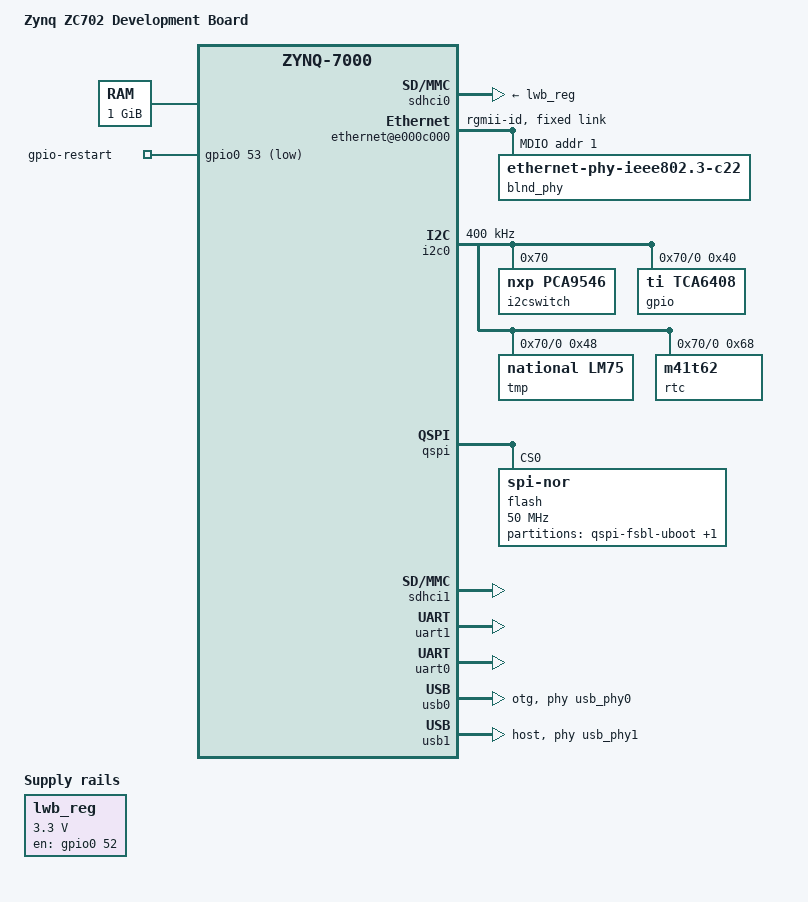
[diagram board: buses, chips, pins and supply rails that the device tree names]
/*
 *  Copyright (C) 2011 - 2014 Xilinx
 *  Copyright (C) 2012 National Instruments Corp.
 *
 * This software is licensed under the terms of the GNU General Public
 * License version 2, as published by the Free Software Foundation, and
 * may be copied, distributed, and modified under those terms.
 *
 * This program is distributed in the hope that it will be useful,
 * but WITHOUT ANY WARRANTY; without even the implied warranty of
 * MERCHANTABILITY or FITNESS FOR A PARTICULAR PURPOSE.  See the
 * GNU General Public License for more details.
 */
/dts-v1/;
#include "zynq-7000.dtsi"
#include <dt-bindings/gpio/gpio.h>
#include <dt-bindings/input/input.h>

/ {
	model = "Zynq ZC702 Development Board";
	compatible = "iveia,atlas-i-z7e", "iveia,helios-z7";

	aliases {
		i2c0 = &i2c0;
		i2c1 = &i2c1;
		serial0 = &uart1;
		spi0 = &qspi;
		mmc0 = &sdhci0;
	};

	memory@0 {
		device_type = "memory";
		reg = <0x0 0x40000000>;
	};

	chosen {
		bootargs = "console=ttyPS1,115200 root=/dev/ram rw earlyprintk";
		stdout-path = "serial0:115200n8";
	};

	iveia_fb {
		compatible = "iveia,fb";
	};
	
	usb_phy0: phy0@e0002000 {
		compatible = "ulpi-phy";
		#phy-cells = <0>;
		reg = <0xe0002000 0x1000>;
		view-port = <0x0170>;
		drv-vbus;
	};

	usb_phy1: phy0@e0003000 {
		compatible = "ulpi-phy";
		#phy-cells = <0>;
		reg = <0xe0003000 0x1000>;
		view-port = <0x0170>;
		drv-vbus;
	};

};

&amba {
	ocm: sram@fffc0000 {
		compatible = "mmio-sram";
		reg = <0xfffc0000 0x10000>;
	};

	lwb_reg: reg@1 {
		compatible = "regulator-fixed";
		regulator-name = "lwb-wifi";

		regulator-min-microvolt = <3300000>; /* Actually 1.8V, but this keeps the driver happy */
		regulator-max-microvolt = <3300000>;
            		
		gpio = <&gpio0 52 0>;

		enable-active-high;
		regulator-boot-on;
		startup-delay-us = <70000>;
	};
/*
	uart1: serial@e0001000 {
		compatible = "iveia,intrepid-rs485";
		status = "okay";
		clocks = <&clkc 24>, <&clkc 41>;
		clock-names = "uart_clk", "pclk";
		reg = <0xE0001000 0x1000>;
		interrupts = <0 50 4>;

		rgpio = <&gpio0 10 0>;
		wgpio = <&gpio0 11 0>;
	};
*/
	sdhci0: sdhci@e0100000 {
		compatible = "arasan,sdhci-8.9a";
		u-boot,dm-pre-reloc;
		status = "okay"; 
		clock-names = "clk_xin", "clk_ahb";
		clocks = <&clkc 21>, <&clkc 32>;
		interrupt-parent = <&intc>;
		interrupts = <0 24 4>;
		reg = <0xe0100000 0x1000>;
		broken-adma2;

		vmmc-supply = <&lwb_reg>;

		disable-wp;
		non-removeable;
		cap-power-off-card;
	};
/*
	eth@e000b000 { //ETH0 on Helios
		compatible = "cdns,zynq-gem", "cdns,gem";
		reg = <0xe000b000 0x1000>;
		status = "okay";
		interrupts = <0 22 4>;
		clocks = <&clkc 30>, <&clkc 30>, <&clkc 13>;
		clock-names = "pclk", "hclk", "tx_clk";
		#address-cells = <1>;
		#size-cells = <0>;
		use-internal-mdio = <1>;
		mdio {
			#address-cells = <1>;
			#size-cells = <0>;
			helios_phy: phy@0 {
				compatible = "ethernet-phy-ieee802.3-c22";
				device_type = "ethernet-phy";
				reg = <0>;
			};
		};
	};
*/
	ethernet@e000c000 { //ETH0 on BLND
		compatible = "cdns,zynq-gem", "cdns,gem";
		reg = <0xe000c000 0x1000>;
		status = "okay";
		interrupts = <0 45 4>;
		clocks = <&clkc 31>, <&clkc 31>, <&clkc 14>;
		clock-names = "pclk", "hclk", "tx_clk";
		#address-cells = <1>;
		#size-cells = <0>;
		use-internal-mdio = <1>;

		phy-mode = "rgmii-id";

		fixed-link {
			speed = <1000>;
			full-duplex;
		};

		mdio {
			#address-cells = <1>;
			#size-cells = <0>;
			blnd_phy: phy@1 {
				compatible = "ethernet-phy-ieee802.3-c22";
				device_type = "ethernet-phy";
				reg = <1>;
			};
		};

	};

	gpio-restart {
		compatible = "gpio-restart";
		gpios = <&gpio0 53 GPIO_ACTIVE_LOW>;
		priority = <128>;
		active-delay = <100>;
		inactive-delay = <100>;
		wait-delay = <3000>;
	};

};

&clkc {
	ps-clk-frequency = <33333333>;
};

&i2c0 {
	status = "okay";
	clock-frequency = <400000>;

        i2cswitch@70 {
                compatible = "nxp,pca9546";
                #address-cells = <1>;
                #size-cells = <0>;
                reg = <0x70>;

                i2c@0 {
                        #address-cells = <1>;
                        #size-cells = <0>;
                        reg = <0>;

					gpio@40 {
                		compatible = "ti,tca6408";
                		reg = <0x40>;
                		gpio-controller;
                		#gpio-cells = <2>;
        			};
	
					tmp@48 {
						compatible = "national,lm75";
						reg = <0x48>;
					};

					rtc@68 {
						compatible = "m41t62";
						reg = <0x68>;	
					};
                };

                i2c@1 {
                        #address-cells = <1>;
                        #size-cells = <0>;
                        reg = <1>;

                };

        };
};
/*
&i2c1 {
	status = "okay";
	clock-frequency = <400000>;
};
*/

&qspi {
	u-boot,dm-pre-reloc;
	status = "okay";
	is-dual = <0>;
	num-cs = <1>;
	flash@0 {
		compatible = "jedec,spi-nor";
		reg = <0x0>;
		spi-tx-bus-width = <1>;
		spi-rx-bus-width = <1>;
		spi-max-frequency = <50000000>;
		#address-cells = <1>;
		#size-cells = <1>;

		partition@qspi-fsbl-uboot {
			label = "qspi-fsbl-uboot";
			reg = <0x0 0x200000>;
		};

		partition@qspi-user-space{
			label = "qspi-user-space";
			reg = <0x200000 0x200000>;
		};

	};
};

&sdhci1 {
	u-boot,dm-pre-reloc;
	status = "okay";
};

&gpio0 {
	u-boot,dm-pre-reloc;
	status = "okay";
};

&uart1 {
	u-boot,dm-pre-reloc;
	status = "okay";
};

&uart0 {
	u-boot,dm-pre-reloc;
	status = "okay";
};

&usb0 {
	status = "okay";
	dr_mode = "otg";
	usb-phy = <&usb_phy0>;
};

&usb1 {
	status = "okay";
	dr_mode = "host";
	usb-phy = <&usb_phy1>;
};
